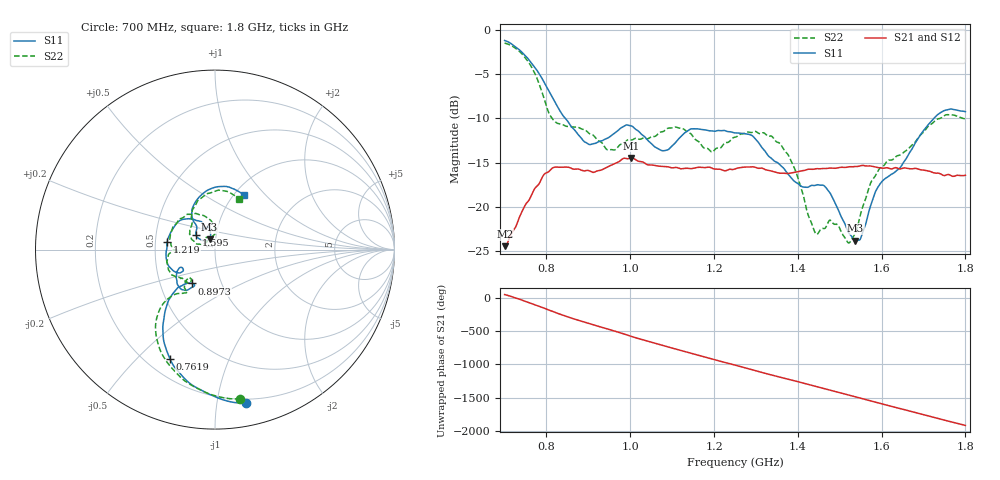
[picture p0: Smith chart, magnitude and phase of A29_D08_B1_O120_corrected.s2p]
! Created with skrf 1.9.0 (http://scikit-rf.org).
# Hz S RI R 50.0
!freq ReS11 ImS11 ReS21 ImS21 ReS12 ImS12 ReS22 ImS22
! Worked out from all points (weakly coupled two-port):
!   1601 points, 700 MHz to 1.8 GHz, reference 50 ohm
!   highest |S21| = -14.46 dB at 1.002 GHz (marker M1); lowest = -24.5 dB at 700.7 MHz (marker M2)
!   lowest |S11| = -23.8 dB at 1.537 GHz (marker M3), VSWR 1.14, Z = 46.8 + j5.33 ohm
!   |S11| at or under -10 dB: 845 MHz to 1.725 GHz (879.7 MHz wide, 68.5 % of centre)
!   |S22| runs from -24.1 to -1.5 dB; largest |S21 - S12| = 0.0036
!   S11 on the Smith chart (normalised r, x): 700 MHz: 0.17, -1.21; 761.9 MHz: 0.29, -0.63; 897.3 MHz: 0.72, -0.29; 1.219 GHz: 0.58, +0.05; 1.595 GHz: 0.80, +0.13; 1.8 GHz: 1.11, +0.77
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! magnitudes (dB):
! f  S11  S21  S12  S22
! 700 MHz  -1.2  -24.5  -24.2  -1.5
! 700.7 MHz  -1.2  -24.5  -24.2  -1.5
! 761.9 MHz  -3.6  -18.9  -18.9  -4.0
! 814.8 MHz  -7.6  -15.6  -15.7  -10.1
! 883.6 MHz  -12.3  -15.9  -15.8  -11.2
! 897.3 MHz  -12.8  -15.9  -16.0  -11.5
! 947.5 MHz  -12.2  -15.5  -15.5  -13.6
! 1.002 GHz  -10.8  -14.5  -14.6  -12.4
! 1.067 GHz  -13.5  -15.4  -15.3  -11.7
! 1.145 GHz  -11.2  -15.7  -15.7  -11.7
! 1.219 GHz  -11.4  -15.8  -15.9  -13.2
! 1.25 GHz  -11.6  -15.7  -15.7  -12.1
! 1.358 GHz  -15.3  -16.2  -16.2  -12.9
! 1.394 GHz  -17.2  -16.1  -16.1  -15.8
! 1.434 GHz  -17.6  -15.8  -15.7  -22.0
! 1.471 GHz  -18.1  -15.7  -15.6  -21.9
! 1.521 GHz  -22.9  -15.5  -15.5  -24.1
! 1.537 GHz  -23.8  -15.4  -15.4  -23.0
! 1.595 GHz  -17.5  -15.6  -15.6  -15.7
! 1.617 GHz  -16.5  -15.6  -15.6  -14.7
! 1.733 GHz  -9.6  -16.2  -16.2  -10.1
! 1.8 GHz  -9.2  -16.4  -16.4  -10.1
